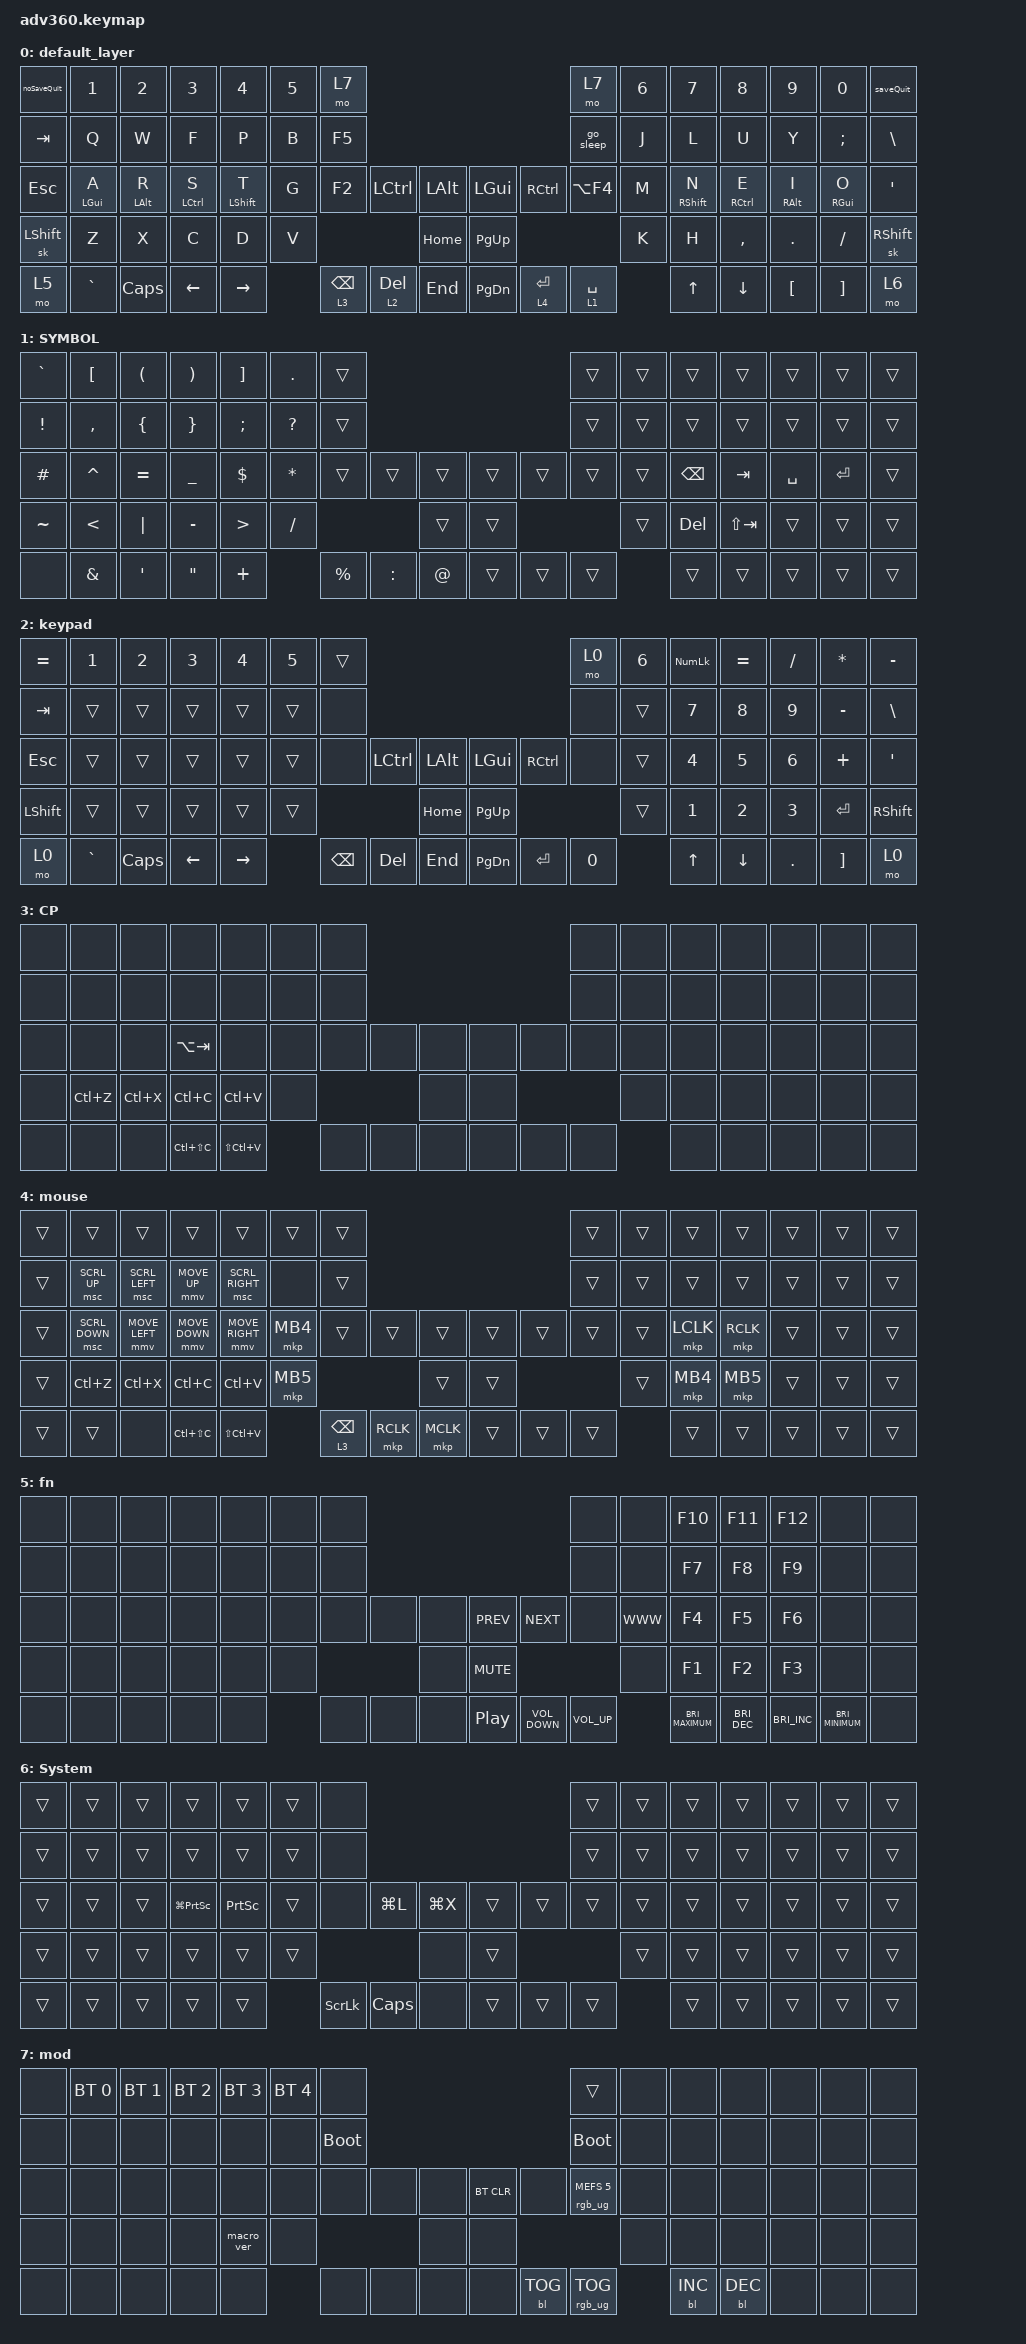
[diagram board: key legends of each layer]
#include <dt-bindings/zmk/stp.h>
#include <behaviors.dtsi>
#include <dt-bindings/zmk/backlight.h>
#include <dt-bindings/zmk/bt.h>
#include <dt-bindings/zmk/keys.h>
#include <dt-bindings/zmk/pointing.h>
#include <dt-bindings/zmk/pointing.h>
#include <dt-bindings/zmk/pointing.h>
#include <dt-bindings/zmk/rgb.h>

/ {
    behaviors {
        #include "macros.dtsi"
      #include "version.dtsi"
      #ifndef VERSION_MACRO

        macro_ver: macro_ver {
            compatible = "zmk,behavior-macro";
            label = "macro_version";
            #binding-cells = <0>;
            bindings = <&kp RET>;
        };

        noSaveQuit: noSaveQuit {
            compatible = "zmk,behavior-macro";
            #binding-cells = <0>;
            bindings = <&kp ESCAPE &kp COLON &kp Q &kp EXCL &kp ENTER>;
            label = "NOSAVEQUIT";
        };

        saveQuit: saveQuit {
            compatible = "zmk,behavior-macro";
            #binding-cells = <0>;
            bindings = <&kp ESCAPE &kp COLON &kp W &kp Q &kp ENTER>;
            label = "SAVEQUIT";
        };

        go_sleep: go_sleep {
            compatible = "zmk,behavior-macro";
            #binding-cells = <0>;
            bindings = <&kp W &kp H &kp I &kp L &kp E &kp SPACE &kp T &kp R &kp U &kp E &kp SPACE &kp SEMI &kp SPACE &kp D &kp O &kp SPACE &kp D &kp A &kp T &kp E &kp SPACE &kp SEMI &kp SPACE &kp S &kp L &kp E &kp E &kp P &kp SPACE &kp N3 &kp N0 &kp N0 &kp SEMI &kp SPACE &kp D &kp O &kp N &kp E &kp SEMI &kp ENTER>;
            label = "GO_SLEEP";
        };

        #endif

        hmr: homerow_mods_r {
            compatible = "zmk,behavior-hold-tap";
            label = "HOMEROW_MODS";
            #binding-cells = <2>;
            tapping-term-ms = <165>;
            flavor = "tap-preferred";
            bindings = <&kp>, <&kp>;

            hold-trigger-key-positions = <15 16 17 18 19 29 30 31 32 33 47 48 49 50 51 14 28 46 60 61 62 63 64 34 20 6 5 4 3 2 1 0 65 66 35 36 52 67>;
            retro-tap;
            require-prior-idle-ms = <(-1)>;
            quick-tap-ms = <200>;
        };

        hml: hml {
            compatible = "zmk,behavior-hold-tap";
            label = "HML";
            #binding-cells = <2>;
            tapping-term-ms = <165>;
            flavor = "tap-preferred";
            bindings = <&kp>, <&kp>;

            hold-trigger-key-positions = <22 23 24 25 26 40 41 42 43 44 54 55 56 57 58 9 8 7 21 39 37 38 53 68 69 70 10 11 12 13 24 25 26 27 44 45 54 55 56 57 58 59 71 72 73 74 75>;
            retro-tap;
            require-prior-idle-ms = <(-1)>;
            quick-tap-ms = <200>;
        };

        numMod: numMod {
            compatible = "zmk,behavior-hold-tap";
            label = "NUMMOD";
            #binding-cells = <2>;
            tapping-term-ms = <180>;
            flavor = "tap-preferred";
            bindings = <&mo>, <&kp>;

            hold-trigger-key-positions = <23 24 25 41 42 43 55 56 57 70 71 72 73 10 9 11 12 26 44 58>;
            retro-tap;
            quick-tap-ms = <200>;
        };

        symbolMod: symbolMod {
            compatible = "zmk,behavior-hold-tap";
            label = "SYMBOLMOD";
            #binding-cells = <2>;
            tapping-term-ms = <180>;
            flavor = "tap-preferred";
            bindings = <&mo>, <&kp>;

            hold-trigger-key-positions = <14 15 16 17 18 19 28 29 30 31 32 33 46 47 48 49 50 51 60 61 62 63 64 65 66 51 65 66 41 42 43 44 55 56 6 5 4 2 1 0 3 67 52 36 35 20 34>;
            require-prior-idle-ms = <10>;
            retro-tap;
            quick-tap-ms = <200>;
        };

        copyMod: copyMod {
            compatible = "zmk,behavior-hold-tap";
            label = "COPYMOD";
            #binding-cells = <2>;
            tapping-term-ms = <200>;
            flavor = "tap-preferred";
            bindings = <&mo>, <&kp>;

            hold-trigger-key-positions = <47 48 49 50 31 63 64>;
            quick-tap-ms = <200>;
            retro-tap;
        };

        mouse: mouse {
            compatible = "zmk,behavior-hold-tap";
            label = "MOUSE";
            #binding-cells = <2>;
            tapping-term-ms = <180>;
            flavor = "tap-preferred";
            bindings = <&mo>, <&kp>;

            hold-trigger-key-positions = <17 30 31 32 16 18 50 49 48 15 29 47 63 64 41 42 55 56 51 33>;
            quick-tap-ms = <200>;
            retro-tap;
        };
    };

    macros {
    };

    keymap {
        compatible = "zmk,keymap";

        default_layer {
            bindings = <
&noSaveQuit  &kp N1           &kp N2           &kp N3        &kp N4             &kp N5  &mo 7                                                                            &mo 7               &kp N6  &kp N7              &kp N8        &kp N9            &kp N0            &saveQuit
&kp TAB      &kp Q            &kp W            &kp F         &kp P              &kp B   &kp F5                                                                           &go_sleep           &kp J   &kp L               &kp U         &kp Y             &kp SEMICOLON     &kp BSLH
&kp ESC      &hml LEFT_GUI A  &hml LEFT_ALT R  &hml LCTRL S  &hml LEFT_SHIFT T  &kp G   &kp F2                &kp LCTRL         &kp LALT      &kp LGUI   &kp RCTRL       &kp LA(F4)          &kp M   &hmr RIGHT_SHIFT N  &hmr RCTRL E  &hmr RIGHT_ALT I  &hmr RIGHT_GUI O  &kp SQT
&sk LSHFT    &kp Z            &kp X            &kp C         &kp D              &kp V                                           &kp HOME      &kp PG_UP                                      &kp K   &kp H               &kp COMMA     &kp DOT           &kp FSLH          &sk RSHFT
&mo 5        &kp GRAVE        &kp CAPS         &kp LEFT      &kp RIGHT                  &copyMod 3 BACKSPACE  &numMod 2 DELETE  &kp END       &kp PG_DN  &mouse 4 ENTER  &symbolMod 1 SPACE          &kp UP              &kp DOWN      &kp LBKT          &kp RBKT          &mo 6
            >;
        };

        SYMBOL {
            bindings = <
&kp GRAVE        &kp LEFT_BRACKET  &kp LEFT_PARENTHESIS  &kp RIGHT_PARENTHESIS  &kp RIGHT_BRACKET  &kp PERIOD    &trans                                              &trans  &trans  &trans         &trans       &trans     &trans     &trans
&kp EXCLAMATION  &kp COMMA         &kp LEFT_BRACE        &kp RIGHT_BRACE        &kp SEMICOLON      &kp QUESTION  &trans                                              &trans  &trans  &trans         &trans       &trans     &trans     &trans
&kp HASH         &kp CARET         &kp EQUAL             &kp UNDERSCORE         &kp DOLLAR         &kp ASTERISK  &trans       &trans     &trans      &trans  &trans  &trans  &trans  &kp BACKSPACE  &kp TAB      &kp SPACE  &kp ENTER  &trans
&kp TILDE        &kp LESS_THAN     &kp PIPE              &kp MINUS              &kp GREATER_THAN   &kp SLASH                             &trans      &trans                  &trans  &kp DELETE     &kp LS(TAB)  &trans     &trans     &trans
&none            &kp AMPERSAND     &kp SINGLE_QUOTE      &kp DOUBLE_QUOTES      &kp PLUS                         &kp PERCENT  &kp COLON  &kp AT      &trans  &trans  &trans          &trans         &trans       &trans     &trans     &trans
            >;
        };

        keypad {
            bindings = <
&kp EQUAL  &kp N1     &kp N2    &kp N3    &kp N4     &kp N5  &trans                                                   &mo 0   &kp N6  &kp KP_NUM    &kp EQUAL     &kp SLASH     &kp ASTERISK  &kp MINUS
&kp TAB    &trans     &trans    &trans    &trans     &trans  &none                                                    &none   &trans  &kp N7        &kp N8        &kp N9        &kp MINUS     &kp BSLH
&kp ESC    &trans     &trans    &trans    &trans     &trans  &none     &kp LCTRL  &kp LALT      &kp LGUI   &kp RCTRL  &none   &trans  &kp NUMBER_4  &kp N5        &kp N6        &kp PLUS      &kp SQT
&kp LSHFT  &trans     &trans    &trans    &trans     &trans                       &kp HOME      &kp PG_UP                     &trans  &kp NUMBER_1  &kp NUMBER_2  &kp NUMBER_3  &kp ENTER     &kp RSHFT
&mo 0      &kp GRAVE  &kp CAPS  &kp LEFT  &kp RIGHT          &kp BSPC  &kp DEL    &kp END       &kp PG_DN  &kp ENTER  &kp N0          &kp UP        &kp DOWN      &kp DOT       &kp RBKT      &mo 0
            >;
        };

        CP {
            bindings = <
&none  &none      &none      &none          &none          &none  &none                                  &none  &none  &none  &none  &none  &none  &none
&none  &none      &none      &none          &none          &none  &none                                  &none  &none  &none  &none  &none  &none  &none
&none  &none      &none      &kp LA(TAB)    &none          &none  &none  &none  &none      &none  &none  &none  &none  &none  &none  &none  &none  &none
&none  &kp LC(Z)  &kp LC(X)  &kp LC(C)      &kp LC(V)      &none                &none      &none                &none  &none  &none  &none  &none  &none
&none  &none      &none      &kp LC(LS(C))  &kp LS(LC(V))         &none  &none  &none      &none  &none  &none         &none  &none  &none  &none  &none
            >;
        };

        mouse {
            bindings = <
&trans  &trans          &trans          &trans          &trans           &trans    &trans                                                          &trans  &trans  &trans     &trans     &trans  &trans  &trans
&trans  &msc SCRL_UP    &msc SCRL_LEFT  &mmv MOVE_UP    &msc SCRL_RIGHT  &none     &trans                                                          &trans  &trans  &trans     &trans     &trans  &trans  &trans
&trans  &msc SCRL_DOWN  &mmv MOVE_LEFT  &mmv MOVE_DOWN  &mmv MOVE_RIGHT  &mkp MB4  &trans                &trans     &trans         &trans  &trans  &trans  &trans  &mkp LCLK  &mkp RCLK  &trans  &trans  &trans
&trans  &kp LC(Z)       &kp LC(X)       &kp LC(C)       &kp LC(V)        &mkp MB5                                   &trans         &trans                  &trans  &mkp MB4   &mkp MB5   &trans  &trans  &trans
&trans  &trans          &none           &kp LC(LS(C))   &kp LS(LC(V))              &copyMod 3 BACKSPACE  &mkp RCLK  &mkp MCLK      &trans  &trans  &trans          &trans     &trans     &trans  &trans  &trans
            >;
        };

        fn {
            bindings = <
&none  &none  &none  &none  &none  &none  &none                                                         &none         &none      &kp F10                   &kp F11               &kp F12               &none                     &none
&none  &none  &none  &none  &none  &none  &none                                                         &none         &none      &kp F7                    &kp F8                &kp F9                &none                     &none
&none  &none  &none  &none  &none  &none  &none  &none  &none      &kp C_PREV        &kp C_NEXT         &none         &kp K_WWW  &kp F4                    &kp F5                &kp F6                &none                     &none
&none  &none  &none  &none  &none  &none                &none      &kp C_MUTE                                         &none      &kp F1                    &kp F2                &kp F3                &none                     &none
&none  &none  &none  &none  &none         &none  &none  &none      &kp C_PLAY_PAUSE  &kp C_VOLUME_DOWN  &kp C_VOL_UP             &kp C_BRIGHTNESS_MAXIMUM  &kp C_BRIGHTNESS_DEC  &kp C_BRIGHTNESS_INC  &kp C_BRIGHTNESS_MINIMUM  &none
            >;
        };

        System {
            bindings = <
&trans  &trans  &trans  &trans               &trans           &trans  &none                                                        &trans  &trans  &trans  &trans  &trans  &trans  &trans
&trans  &trans  &trans  &trans               &trans           &trans  &none                                                        &trans  &trans  &trans  &trans  &trans  &trans  &trans
&trans  &trans  &trans  &kp LG(PRINTSCREEN)  &kp PRINTSCREEN  &trans  &none           &kp LG(L)     &kp LG(X)      &trans  &trans  &trans  &trans  &trans  &trans  &trans  &trans  &trans
&trans  &trans  &trans  &trans               &trans           &trans                                &none          &trans                  &trans  &trans  &trans  &trans  &trans  &trans
&trans  &trans  &trans  &trans               &trans                   &kp SCROLLLOCK  &kp CAPSLOCK  &none          &trans  &trans  &trans          &trans  &trans  &trans  &trans  &trans
            >;
        };

        mod {
            bindings = <
&none  &bt BT_SEL 0  &bt BT_SEL 1  &bt BT_SEL 2  &bt BT_SEL 3  &bt BT_SEL 4  &none                                                  &trans                  &none  &none       &none       &none  &none  &none
&none  &none         &none         &none         &none         &none         &bootloader                                            &bootloader             &none  &none       &none       &none  &none  &none
&none  &none         &none         &none         &none         &none         &none        &none  &none      &bt BT_CLR  &none       &rgb_ug RGB_MEFS_CMD 5  &none  &none       &none       &none  &none  &none
&none  &none         &none         &none         &macro_ver    &none                             &none      &none                                           &none  &none       &none       &none  &none  &none
&none  &none         &none         &none         &none                       &none        &none  &none      &none       &bl BL_TOG  &rgb_ug RGB_TOG                &bl BL_INC  &bl BL_DEC  &none  &none  &none
            >;
        };
    };
};
